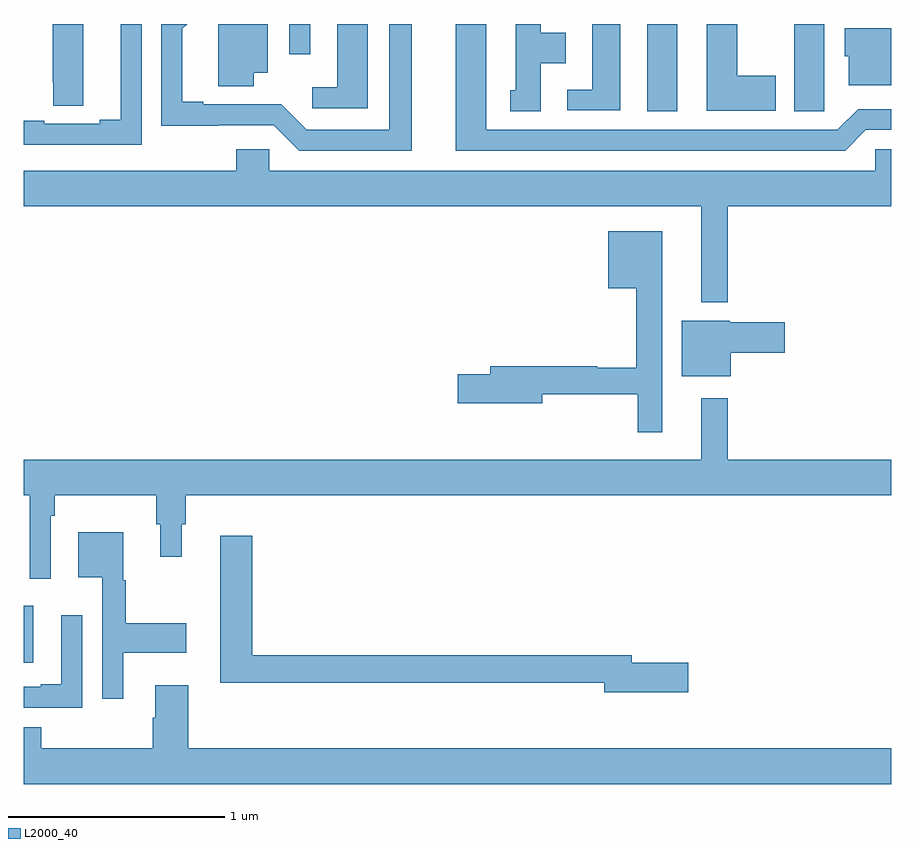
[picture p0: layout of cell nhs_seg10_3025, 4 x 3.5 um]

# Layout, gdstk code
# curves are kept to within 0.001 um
import gdstk
lib = gdstk.Library(unit=1e-6, precision=1e-09)
def R(c, l, rs):  # rectangles x0, y0, x1, y1
    for r in rs: c.add(gdstk.rectangle(r[:2], r[2:], *l))
def P(c, l, *ps):  # polygons
    for p in ps: c.add(gdstk.Polygon(p, *l))
L2000_40 = (2000, 40)

nhs_seg10_3025 = lib.new_cell('nhs_seg10_3025')
R(nhs_seg10_3025, L2000_40, [(275,1287.554,275.044,1287.817), (277.874,1290.097,278.014,1290.5), (276.225,1290.36,276.321,1290.5)])
P(nhs_seg10_3025, L2000_40, [(277.384,1290.32),(277.498,1290.32),(277.498,1290.46),(277.384,1290.46),(277.384,1290.5),(277.268,1290.5),(277.268,1290.195),(277.244,1290.195),(277.244,1290.097),(277.384,1290.097)],
  [(275.544,1290.5),(275.447,1290.5),(275.447,1290.059),(275.351,1290.059),(275.351,1290.039),(275.095,1290.039),(275.095,1290.054),(275,1290.054),(275,1289.943),(275.544,1289.943)],
  [(276.061,1290.275),(276.124,1290.275),(276.124,1290.5),(275.897,1290.5),(275.897,1290.214),(276.061,1290.214)],
  [(277.75,1290.5),(277.622,1290.5),(277.622,1290.198),(277.506,1290.198),(277.506,1290.102),(277.75,1290.102)],
  [(275.275,1290.5),(275.135,1290.5),(275.135,1290.232),(275.136,1290.232),(275.136,1290.124),(275.275,1290.124)],
  [(276.586,1290.5),(276.446,1290.5),(276.446,1290.208),(276.33,1290.208),(276.33,1290.111),(276.586,1290.111)],
  [(278.467,1290.261),(278.29,1290.261),(278.29,1290.5),(278.15,1290.5),(278.15,1290.101),(278.467,1290.101)],
  [(278.691,1290.208),(278.692,1290.208),(278.692,1290.5),(278.552,1290.5),(278.552,1290.097),(278.691,1290.097)],
  [(276.79,1290.5),(276.686,1290.5),(276.686,1290.012),(276.306,1290.012),(276.188,1290.13),(275.827,1290.129),(275.827,1290.142),(275.731,1290.142),(275.731,1290.478),(275.753,1290.5),(275.634,1290.5),(275.634,1290.032),(276.153,1290.033),(276.27,1289.916),(276.79,1289.916)],
  [(278.883,1290.012),(279,1290.012),(279,1290.108),(278.847,1290.108),(278.751,1290.012),(277.132,1290.012),(277.132,1290.5),(276.992,1290.5),(276.992,1289.916),(278.787,1289.916)],
  [(279,1290.481),(278.786,1290.481),(278.786,1290.351),(278.804,1290.351),(278.804,1290.218),(279,1290.218)],
  [(278.245,1289.66),(279,1289.66),(279,1289.922),(278.925,1289.922),(278.925,1289.824),(276.132,1289.824),(276.132,1289.922),(275.981,1289.922),(275.981,1289.824),(275,1289.824),(275,1289.66),(278.123,1289.66),(278.123,1289.216),(278.245,1289.216)],
  [(277.945,1289.545),(277.694,1289.545),(277.694,1289.282),(277.824,1289.282),(277.824,1288.915),(277.645,1288.915),(277.645,1288.922),(277.151,1288.922),(277.151,1288.886),(277.002,1288.886),(277.002,1288.751),(277.39,1288.751),(277.39,1288.794),(277.831,1288.794),(277.831,1288.617),(277.945,1288.617)],
  [(278.26,1288.984),(278.509,1288.984),(278.509,1289.126),(278.256,1289.126),(278.256,1289.131),(278.033,1289.131),(278.033,1288.877),(278.26,1288.877)],
  [(275.124,1288.232),(275.144,1288.232),(275.144,1288.328),(275.611,1288.328),(275.611,1288.194),(275.63,1288.194),(275.63,1288.044),(275.728,1288.044),(275.728,1288.194),(275.747,1288.194),(275.747,1288.328),(279,1288.328),(279,1288.492),(278.245,1288.492),(278.245,1288.774),(278.123,1288.774),(278.123,1288.492),(275,1288.492),(275,1288.328),(275.027,1288.328),(275.027,1287.942),(275.124,1287.942)],
  [(275.458,1287.602),(275.749,1287.602),(275.749,1287.737),(275.47,1287.737),(275.47,1287.936),(275.458,1287.936),(275.458,1288.156),(275.252,1288.156),(275.252,1287.95),(275.361,1287.95),(275.361,1287.39),(275.458,1287.39)],
  [(278.065,1287.554),(277.804,1287.554),(277.804,1287.59),(276.053,1287.59),(276.053,1288.141),(275.906,1288.141),(275.906,1287.462),(277.676,1287.462),(277.676,1287.419),(278.065,1287.419)],
  [(275.271,1287.775),(275.174,1287.775),(275.174,1287.457),(275.078,1287.457),(275.078,1287.444),(275,1287.444),(275,1287.348),(275.271,1287.348)],
  [(279,1287.16),(275.759,1287.16),(275.759,1287.451),(275.606,1287.451),(275.606,1287.302),(275.594,1287.302),(275.594,1287.16),(275.081,1287.16),(275.081,1287.258),(275,1287.258),(275,1286.996),(279,1286.996)])

lib.write_gds('nhs_seg10_3025.gds')
